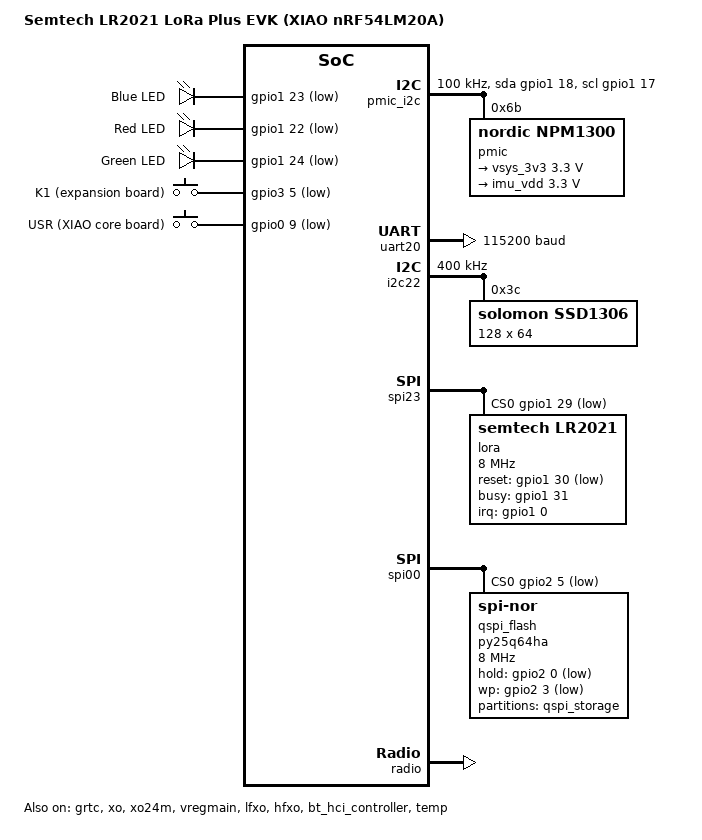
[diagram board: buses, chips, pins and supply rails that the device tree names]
/*
 * Semtech LR2021 LoRa Plus Evaluation Kit with a XIAO nRF54LM20A fitted
 * Copyright (c) 2026 ZephCore
 * SPDX-License-Identifier: MIT
 *
 * The same three-board sandwich as boards/nrf54l/seeed_lr2021_evk, with the
 * MCU module swapped:
 *
 *   Seeed XIAO nRF54LM20A         — the MCU (2036 KB RRAM, 511 KB RAM, nPM1300)
 *   LoRa Plus Expansion Board V2a — OLED, buttons, Grove, SMA, SWD
 *   Wio-LR2021 module             — LR2021WIO1XDCS, 868/915 MHz, switchless
 *
 * Everything about the carrier and the radio module is unchanged and is
 * explained in seeed_lr2021_evk_nrf54l15_cpuapp.dts; this file only records
 * what the other XIAO changes. Sources, in devdocs/seeed_lr2021_evk/assets/lm20a:
 * the XIAO nRF54LM20A schematic and Zephyr's own xiao_nrf54lm20a board.
 *
 * XIAO connector map (Zephyr seeed_xiao_connector.dtsi, schematic sheet 6):
 *   D0  P1.00  LR2021 IRQ (chip DIO8)   D8  P1.04  SPI SCK  (spi23)
 *   D1  P1.31  LR2021 BUSY              D9  P1.05  SPI MISO (spi23)
 *   D2  P1.30  LR2021 NRESET            D10 P1.06  SPI MOSI (spi23)
 *   D3  P1.29  LR2021 NSS
 *   D4  P1.03  I2C SDA (i2c22) — OLED + 2x Grove
 *   D5  P1.07  I2C SCL (i2c22) — OLED + 2x Grove
 *   D6  P1.08  LR2021 DIO7  / uart21 TX / Grove UART
 *   D7  P1.09  LR2021 DIO11 / uart21 RX / Grove UART
 *   D16 P3.05  K1 user button on the expansion board (back pad TP16; the
 *              expansion board calls this pogo "D14", which is the L15's map)
 *
 * What differs from the nRF54L15 XIAO, beyond the pin numbers:
 *   - The radio is on spi23. spi00 belongs to the XIAO's own 8 MB flash on P2,
 *     which is mounted as /ext.
 *   - Every pin used here sits on a port with GPIOTE (P0, P1, P3), so the
 *     buttons are interrupt-driven and the L15's polling workaround is gone.
 *   - An nPM1300 PMIC makes the 3.3 V rail and charges the battery.
 *   - No 2.4 GHz antenna switch: ANT goes through a fixed match to the
 *     ceramic antenna (sheet 6). Seeed's pin sheet lists RF_SW_PWR/RF_SW_CTL
 *     on P1.27/P1.28, but no such net exists in the schematic.
 *   - The SoC has USB, the board does not use it: D+/D- are no-connects and
 *     the VBUS link R23 is not fitted. Flashing and console stay on the SAMD11.
 */

/dts-v1/;
#include <nordic/nrf54lm20a_cpuapp.dtsi>
#include "seeed_lr2021_evk_lm20a-pinctrl.dtsi"
#include <zephyr/dt-bindings/input/input-event-codes.h>
#include <zephyr/dt-bindings/regulator/npm13xx.h>

/ {
	model = "Semtech LR2021 LoRa Plus EVK (XIAO nRF54LM20A)";
	compatible = "seeed,lr2021-evk-lm20a";

	chosen {
		zephyr,sram = &cpuapp_sram_app;
		zephyr,flash = &cpuapp_rram;
		zephyr,flash-controller = &rram_controller;
		zephyr,console = &uart20;
		zephyr,shell-uart = &uart20;
		zephyr,bt-hci = &bt_hci_controller;
		zephyr,display = &ssd1306;
		/* No zephyr,code-partition: no bootloader, the image links at
		 * RRAM base 0x0. Same choice as seeed_lr2021_evk. */
	};

	aliases {
		lora0 = &lora;
		led0 = &blue_led;
		sw0 = &user_button;
	};

	/* RGB LED on the XIAO core board. */
	leds {
		compatible = "gpio-leds";

		blue_led: led_0 {
			gpios = <&gpio1 23 GPIO_ACTIVE_LOW>;
			label = "Blue LED";
		};

		red_led: led_1 {
			gpios = <&gpio1 22 GPIO_ACTIVE_LOW>;
			label = "Red LED";
		};

		green_led: led_2 {
			gpios = <&gpio1 24 GPIO_ACTIVE_LOW>;
			label = "Green LED";
		};
	};

	buttons: buttons {
		compatible = "gpio-keys";

		/*
		 * K1 on the expansion board: a bare switch to GND, so the
		 * internal pull-up is required.
		 *
		 * NOT this XIAO's D14. K1 reaches the MCU through a pogo pin
		 * placed for the nRF54L15 XIAO's D14 back pad, and the two XIAOs
		 * put different nets on the same eight pad positions (both KiCad
		 * board files, devdocs/seeed_lr2021_evk/assets). The pad that
		 * pogo touches here is TP16 = D16 = P3.05; D14 (P3.03, TP14) sits
		 * in the other pad row. P3 has a GPIOTE instance (gpiote20), so
		 * no polling as on the L15's P2.09.
		 *
		 * Derived from the board files, NOT confirmed on hardware: on the
		 * one kit tried (2026-10-02) holding K1 pulled none of P3.00..07
		 * low with pull-ups on all eight, i.e. the pogo pins made no
		 * contact at all. The XIAO's own button below is the one that works.
		 */
		user_button: button_0 {
			gpios = <&gpio3 5 (GPIO_PULL_UP | GPIO_ACTIVE_LOW)>;
			zephyr,code = <INPUT_KEY_0>;
			label = "K1 (expansion board)";
		};

		/* The XIAO core board's own USR button. Same key code as K1. */
		xiao_button: button_1 {
			gpios = <&gpio0 9 (GPIO_PULL_UP | GPIO_ACTIVE_LOW)>;
			zephyr,code = <INPUT_KEY_0>;
			label = "USR (XIAO core board)";
		};
	};

	/* Button chain — same mapping as RAK4631 (rak4631/board.overlay). */
	user_btn_longpress {
		compatible = "zephyr,input-longpress";
		input = <&buttons>;
		input-codes = <INPUT_KEY_0>;
		short-codes = <INPUT_KEY_A>;
		long-codes = <INPUT_KEY_ENTER>;
		long-delay-ms = <1000>;
	};

	page_btn_multitap {
		compatible = "zephcore,input-multi-tap";
		input-codes = <INPUT_KEY_A>;
		tap-codes = <INPUT_KEY_1 INPUT_KEY_LEFT>;
		tap-delay-ms = <400>;
	};

	/*
	 * nPM1300 on a bit-banged bus (P1.17 SCL / P1.18 SDA). Copied from
	 * upstream Zephyr's xiao_nrf54lm20a; the init order it depends on is in
	 * Kconfig.defconfig.
	 */
	pmic_i2c: pmic-i2c {
		compatible = "gpio-i2c";
		#address-cells = <1>;
		#size-cells = <0>;
		sda-gpios = <&gpio1 18 GPIO_ACTIVE_HIGH>;
		scl-gpios = <&gpio1 17 GPIO_ACTIVE_HIGH>;
		clock-frequency = <100000>;
		status = "okay";

		pmic: npm1300@6b {
			compatible = "nordic,npm1300";
			reg = <0x6b>;

			pmic_charger: charger {
				compatible = "nordic,npm1300-charger";
				term-microvolt = <4200000>;
				term-warm-microvolt = <4000000>;
				current-microamp = <150000>;
				dischg-limit-microamp = <1000000>;
				vbus-limit-microamp = <500000>;
				thermistor-ohms = <10000>;
				thermistor-beta = <3380>;
				charging-enable;
			};

			regulators {
				compatible = "nordic,npm1300-regulator";

				/*
				 * BUCK2 is VSYS_3V3: the nRF54, the SAMD11 debugger
				 * and, through the expansion board, the LR2021.
				 */
				vsys_3v3: BUCK2 {
					regulator-always-on;
					regulator-min-microvolt = <3300000>;
					regulator-max-microvolt = <3300000>;
				};

				/* IMU and microphone supply. */
				imu_vdd: LDO1 {
					regulator-init-microvolt = <3300000>;
					regulator-min-microvolt = <3300000>;
					regulator-max-microvolt = <3300000>;
					regulator-initial-mode = <NPM13XX_LDSW_MODE_LDO>;
					regulator-allowed-modes = <NPM13XX_LDSW_MODE_LDO>;
					regulator-boot-on;
				};
			};
		};
	};
};

&cpuapp_sram {
	status = "okay";
};

&hfpll {
	clock-frequency = <DT_FREQ_M(128)>;
};

&grtc {
	owned-channels = <0 1 2 3 4 5 6 7 8 9 10 11>;
	/* Channels 7-11 reserved for Zero Latency IRQs, 3-4 for FLPR */
	child-owned-channels = <3 4 7 8 9 10 11>;
	status = "okay";
};

/* Clock set as upstream's xiao_nrf54lm20a. */
&clock {
	status = "okay";
};

&xo {
	status = "okay";
};

&lfclk {
	status = "okay";
};

&xo24m {
	status = "okay";
};

/* Console: P1.11 TX / P1.10 RX -> SAMD11 CMSIS-DAP bridge -> USB CDC */
&uart20 {
	status = "okay";
	current-speed = <115200>;
	pinctrl-0 = <&uart20_default>;
	pinctrl-1 = <&uart20_sleep>;
	pinctrl-names = "default", "sleep";
};

/* D6/D7 are also the LR2021's DIO7/DIO11 — see seeed_lr2021_evk. */
&uart21 {
	status = "disabled";
};

&i2c22 {
	status = "okay";
	pinctrl-0 = <&i2c22_default>;
	pinctrl-1 = <&i2c22_sleep>;
	pinctrl-names = "default", "sleep";
	clock-frequency = <400000>;

	/* Mandatory for the SSD1306 on nrf-twim: 1 + 1024, rounded up. */
	zephyr,concat-buf-size = <1088>;

	/* ZJY-2864KSWPG01 on the expansion board; settings as seeed_lr2021_evk. */
	ssd1306: ssd1306@3c {
		compatible = "solomon,ssd1306";
		reg = <0x3c>;
		width = <128>;
		height = <64>;
		segment-offset = <0>;
		page-offset = <0>;
		display-offset = <0>;
		multiplex-ratio = <63>;
		segment-remap;
		com-invdir;
		inversion-on;
		prechargep = <0x22>;
	};
};

&spi23 {
	status = "okay";
	cs-gpios = <&gpio1 29 GPIO_ACTIVE_LOW>;	/* D3 = P1.29 NSS */
	pinctrl-0 = <&spi23_default>;
	pinctrl-1 = <&spi23_sleep>;
	pinctrl-names = "default", "sleep";

	/* The bus must idle at the LR2021's NOP, not Nordic's 0xFF. */
	overrun-character = <0x00>;

	lora: lora@0 {
		compatible = "semtech,lr2021";
		reg = <0>;
		spi-max-frequency = <8000000>;

		reset-gpios = <&gpio1 30 GPIO_ACTIVE_LOW>;			/* D2 = P1.30 */
		busy-gpios = <&gpio1 31 GPIO_ACTIVE_HIGH>;			/* D1 = P1.31 */
		irq-gpios = <&gpio1 0 (GPIO_PULL_DOWN | GPIO_ACTIVE_HIGH)>;	/* D0 = P1.00 */
		irq-dio = <8>;	/* chip DIO8 -> module pin 1 -> D0 */

		/* No TCXO and no RF switch: both are properties of the Wio-LR2021
		 * module, settled on hardware — see seeed_lr2021_evk. */
		rx-boosted;
	};
};

/*
 * The XIAO's own 8 MB SPI NOR (PY25Q64HA) on P2, mounted as /ext by
 * qspi-ext.dtsi below: contacts, channels and blobs move there, and contact
 * saves become atomic. Flash parameters are upstream Zephyr's xiao_nrf54lm20a
 * node, except the clock: upstream gives the part's 133 MHz ceiling, this
 * stays at 8 MHz until a faster rate is measured to be worth having.
 *
 * The label is "qspi_flash" because that is the name qspi-ext.dtsi and
 * ZephyrFsFormat.c look for; the part is driven as plain single-line SPI.
 */
&spi00 {
	status = "okay";
	cs-gpios = <&gpio2 5 GPIO_ACTIVE_LOW>;
	pinctrl-0 = <&spi00_default>;
	pinctrl-1 = <&spi00_sleep>;
	pinctrl-names = "default", "sleep";

	qspi_flash: py25q64ha@0 {
		compatible = "jedec,spi-nor";
		reg = <0>;
		spi-max-frequency = <8000000>;
		jedec-id = [85 20 17];
		sfdp-bfp = [e5 20 f9 ff ff ff ff 03 44 eb 08 6b 08 3b 80 bb
			    fe ff ff ff ff ff 00 ff ff ff 44 eb 0c 20 0f 52
			    10 d8 00 81];
		size = <67108864>;
		has-dpd;
		t-enter-dpd = <3000>;
		requires-ulbpr;
		hold-gpios = <&gpio2 0 GPIO_ACTIVE_LOW>;
		wp-gpios = <&gpio2 3 GPIO_ACTIVE_LOW>;

		partitions {
			compatible = "fixed-partitions";
			#address-cells = <1>;
			#size-cells = <1>;

			/* Full 8 MB for LittleFS storage */
			qspi_storage_partition: partition@0 {
				label = "qspi_storage";
				reg = <0x00000000 0x00800000>;
			};
		};
	};
};

&gpio0 {
	status = "okay";
};

&gpio1 {
	status = "okay";
};

&gpio2 {
	status = "okay";
};

&gpio3 {
	status = "okay";
};

&gpiote20 {
	status = "okay";
};

&gpiote30 {
	status = "okay";
};

&vregmain {
	status = "okay";
	regulator-initial-mode = <NRF5X_REG_MODE_DCDC>;
};

/* Crystal load capacitances as upstream's xiao_nrf54lm20a. */
&lfxo {
	load-capacitors = "internal";
	load-capacitance-femtofarad = <17000>;
	status = "okay";
};

&hfxo {
	load-capacitors = "internal";
	load-capacitance-femtofarad = <15000>;
	status = "okay";
};

&radio {
	status = "okay";
};

&bt_hci_controller {
	status = "okay";
};

&temp {
	status = "okay";
};

/* Default Nordic RRAM map, then re-carved below for ZephCore. */
#include <vendor/nordic/nrf54lm20a_cpuapp_partition.dtsi>

/*
 * RRAM layout (2036 KB total, 0x1FD000; the last 96 KB are the FLPR core's).
 *
 * No bootloader: the application starts at 0x0, so the DFU slots are deleted.
 *
 *   0x000000 - 0x1C0000  (1792 KB)  application (links from 0x0)
 *   0x1C0000 - 0x1E0000  (128 KB)   LittleFS: identity, prefs, contacts,
 *                                   channels, BLE bonds
 *   0x1E0000 - 0x1E5000  (20 KB)    unused
 *   0x1E5000 - 0x1FD000  (96 KB)    reserved for FLPR
 */
/delete-node/ &slot0_partition;
/delete-node/ &slot1_partition;
/delete-node/ &storage_partition;

&cpuapp_rram {
	partitions {
		lfs_partition: partition@1c0000 {
			compatible = "zephyr,mapped-partition";
			label = "lfs";
			reg = <0x1C0000 0x20000>;
		};
	};
};

/* LittleFS auto-mount — standard /lfs mount point */
#include "../../common/filesystem.dtsi"

/* /ext on the 8 MB SPI NOR: deferred init, mounted by the store on first use */
#include "../../common/qspi-ext.dtsi"
